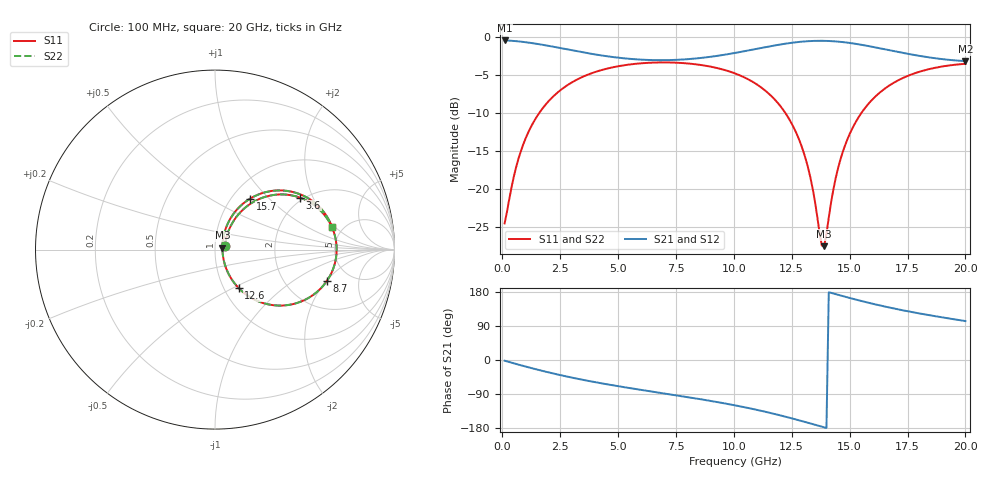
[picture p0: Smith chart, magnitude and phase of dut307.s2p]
! Touchstone file exported from HFSS 2026.1.0
!  File:  C:/ffzhzh/LocalFiles/Ansys_Project_Files/temp_train_TSV_RDL_307_1783028957_55676.aedt
!  Generated:  06:02:15 AM Jul  3, 2026
!  Design:  TSV_RDL
!  Project:  temp_train_TSV_RDL_307_1783028957_55676
! Variables:
!  h_bsmrdl = 2.04um
!  h_ox = 20um
!  h_rdl = 5um
!  h_sub = 50.13um
!  h_tmrdl = 2.11um
!  h_tsv = 50.13um
!  h_via = 3um
!  l_bsmrdl = 520.05um
!  l_sub = 4504.63um
!  l_tmrdl = 617.88um
!  m_sub = 200um
!  pitch = 44.7um
!  r_tsv = 7.36um
!  s_tmrdl = 10um
!  w_bsmrdl = 13.23um
!  w_sub = 500um
!  w_tmrdl = 11.09um
!  x_tsv_center1 = 623.425um
!  x_tsv_center2 = 1156.705um
!  x_tsv_center3 = 1785.675um
!  x_tsv_center4 = 2318.955um
!  x_tsv_center5 = 2947.925um
!  x_tsv_center6 = 3481.205um
# GHz S MA R 50.000000
! Terminal data exported
! Port[1] = TM_RDL1_1_T1
! Port[2] = TM_RDL5_1_T1
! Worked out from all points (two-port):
!   200 points, 100 MHz to 20 GHz, reference 50 ohm
!   highest |S21| = -0.50 dB at 100 MHz (marker M1); lowest = -3.2 dB at 20 GHz (marker M2)
!   |S21| within 3 dB of the highest: start of sweep to end of sweep
!   lowest |S11| = -27.5 dB at 13.9 GHz (marker M3), VSWR 1.09, Z = 54.3 + j1.09 ohm
!   |S11| at or under -10 dB: start of sweep to 1.598 GHz; 12.22 GHz to 15.51 GHz (3.288 GHz wide, 23.7 % of centre)
!   |S22| runs from -27.4 to -3.4 dB; largest |S21 - S12| = 1.8e-14
!   S11 on the Smith chart (normalised r, x): 100 MHz: 1.12, +0.05; 3.6 GHz: 1.92, +1.61; 8.7 GHz: 3.38, -2.03; 12.6 GHz: 1.17, -0.53; 15.7 GHz: 1.21, +0.78; 20 GHz: 4.05, +1.85
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0.1  0.0597 19.7  0.9442 -1.8  0.9442 -1.8  0.0597 19.7
! Gamma 0 0 0 0
! Port Impedance 50 0 50 0
0.7  0.1586 56.4  0.9311 -12.2  0.9311 -12.2  0.1586 56.4
1.3  0.2668 55.2  0.9066 -22.0  0.9066 -22.0  0.2668 55.2
2.2  0.4055 46.5  0.8591 -35.6  0.8591 -35.6  0.4055 46.5
3.5  0.5477 32.4  0.7884 -52.6  0.7884 -52.6  0.5477 32.4
3.6  0.556 31.4  0.7834 -53.8  0.7834 -53.8  0.5559 31.4
5.2  0.6472 15.8  0.7226 -71.1  0.7226 -71.1  0.6472 15.8
6.8  0.6776 1.5  0.701 -86.5  0.701 -86.5  0.6775 1.5
8.7  0.6477 -15.6  0.7285 -104.9  0.7285 -104.9  0.6477 -15.6
10.1  0.5702 -29.7  0.7844 -120.2  0.7844 -120.2  0.5702 -29.7
11.6  0.4107 -47.1  0.8665 -140.0  0.8665 -140.0  0.4107 -47.1
12.6  0.2512 -58.4  0.9157 -155.6  0.9157 -155.6  0.2512 -58.4
13.1  0.1584 -60.9  0.9317 -163.9  0.9317 -163.9  0.1584 -60.8
13.4  0.1017 -57.0  0.9372 -169.0  0.9372 -169.0  0.1017 -56.9
13.8  0.0427 -12.6  0.9393 -175.9  0.9393 -175.9  0.04291 -12.5
13.9  0.04231 13.7  0.9388 -177.7  0.9388 -177.7  0.04255 13.7
14.3  0.0999 59.7  0.933 175.4  0.933 175.4  0.1 59.6
14.6  0.156 63.8  0.9248 170.4  0.9248 170.4  0.1561 63.8
15.7  0.346 55.4  0.8741 152.8  0.8741 152.8  0.346 55.3
16.7  0.4768 43.7  0.8159 138.7  0.8159 138.7  0.4769 43.7
18.4  0.6109 25.8  0.7323 118.7  0.7323 118.7  0.6109 25.7
20  0.6635 11.1  0.6914 102.7  0.6914 102.7  0.6636 11.1
